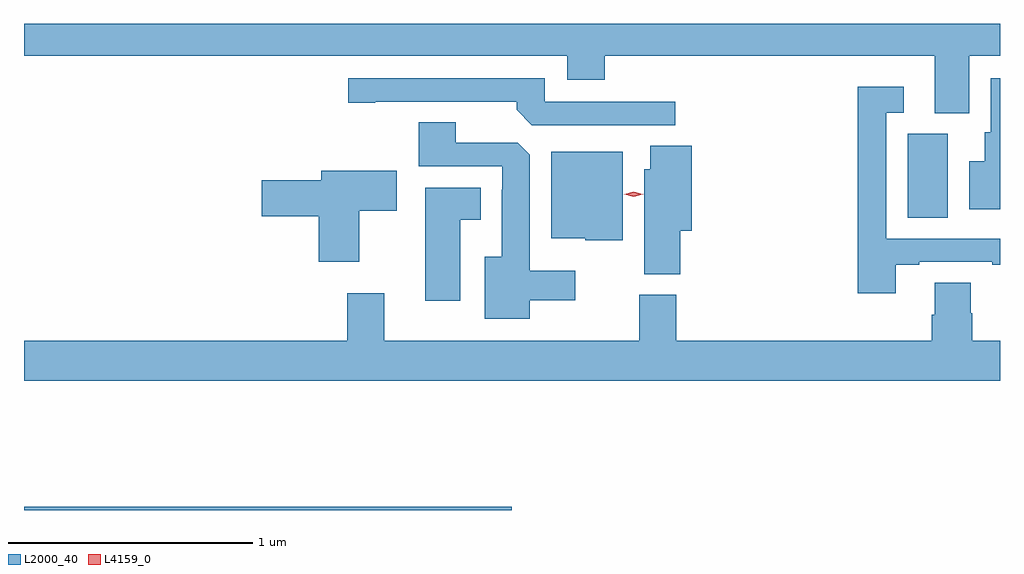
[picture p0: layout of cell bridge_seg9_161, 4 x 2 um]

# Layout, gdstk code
import gdstk
lib = gdstk.Library(unit=1e-6, precision=1e-09)
def R(c, l, rs):  # rectangles x0, y0, x1, y1
    for r in rs: c.add(gdstk.rectangle(r[:2], r[2:], *l))
def P(c, l, *ps):  # polygons
    for p in ps: c.add(gdstk.Polygon(p, *l))
L2000_40 = (2000, 40)
L4159_0 = (4159, 0)

bridge_seg9_161 = lib.new_cell('bridge_seg9_161')
R(bridge_seg9_161, L2000_40, [(309.55,1246.505,311.548,1246.52), (313.172,1247.704,313.336,1248.048)])
P(bridge_seg9_161, L2000_40, [(313.423,1248.368),(313.55,1248.368),(313.55,1248.5),(309.55,1248.5),(309.55,1248.368),(311.777,1248.368),(311.777,1248.269),(311.93,1248.269),(311.93,1248.368),(313.283,1248.368),(313.283,1248.133),(313.423,1248.133)],
  [(313.55,1248.276),(313.512,1248.276),(313.512,1248.054),(313.487,1248.054),(313.487,1247.935),(313.424,1247.935),(313.424,1247.739),(313.55,1247.739)],
  [(312.22,1248.18),(311.685,1248.18),(311.685,1248.276),(310.878,1248.276),(310.878,1248.175),(310.99,1248.175),(310.99,1248.18),(311.57,1248.18),(311.57,1248.146),(311.631,1248.084),(312.22,1248.084)],
  [(313.123,1247.511),(313.219,1247.511),(313.219,1247.523),(313.519,1247.523),(313.519,1247.511),(313.55,1247.511),(313.55,1247.619),(313.083,1247.619),(313.083,1248.135),(313.156,1248.135),(313.156,1248.241),(312.967,1248.241),(312.967,1247.394),(313.123,1247.394)],
  [(311.623,1247.366),(311.809,1247.366),(311.809,1247.488),(311.623,1247.488),(311.623,1247.963),(311.574,1248.012),(311.32,1248.012),(311.32,1248.095),(311.168,1248.095),(311.168,1247.916),(311.511,1247.916),(311.511,1247.819),(311.507,1247.819),(311.507,1247.545),(311.438,1247.545),(311.438,1247.291),(311.623,1247.291)],
  [(312.239,1247.651),(312.287,1247.651),(312.287,1247.999),(312.116,1247.999),(312.116,1247.904),(312.092,1247.904),(312.092,1247.473),(312.239,1247.473)],
  [(312.004,1247.974),(311.711,1247.974),(311.711,1247.621),(311.85,1247.621),(311.85,1247.612),(312.004,1247.612)],
  [(310.924,1247.734),(311.077,1247.734),(311.077,1247.896),(310.769,1247.896),(310.769,1247.858),(310.524,1247.858),(310.524,1247.711),(310.757,1247.711),(310.757,1247.523),(310.924,1247.523)],
  [(311.338,1247.696),(311.422,1247.696),(311.422,1247.827),(311.195,1247.827),(311.195,1247.364),(311.338,1247.364)],
  [(313.55,1247.2),(313.436,1247.2),(313.436,1247.313),(313.431,1247.313),(313.431,1247.438),(313.283,1247.438),(313.283,1247.306),(313.271,1247.306),(313.271,1247.2),(312.224,1247.2),(312.224,1247.388),(312.071,1247.388),(312.071,1247.2),(311.026,1247.2),(311.026,1247.395),(310.874,1247.395),(310.874,1247.2),(309.55,1247.2),(309.55,1247.036),(313.55,1247.036)])
P(bridge_seg9_161, L4159_0, [(312.049,1247.79),(312.011,1247.8),(312.011,1247.8),(312.011,1247.8),(312.049,1247.81),(312.086,1247.8),(312.087,1247.8),(312.086,1247.8)])

lib.write_gds('bridge_seg9_161.gds')
